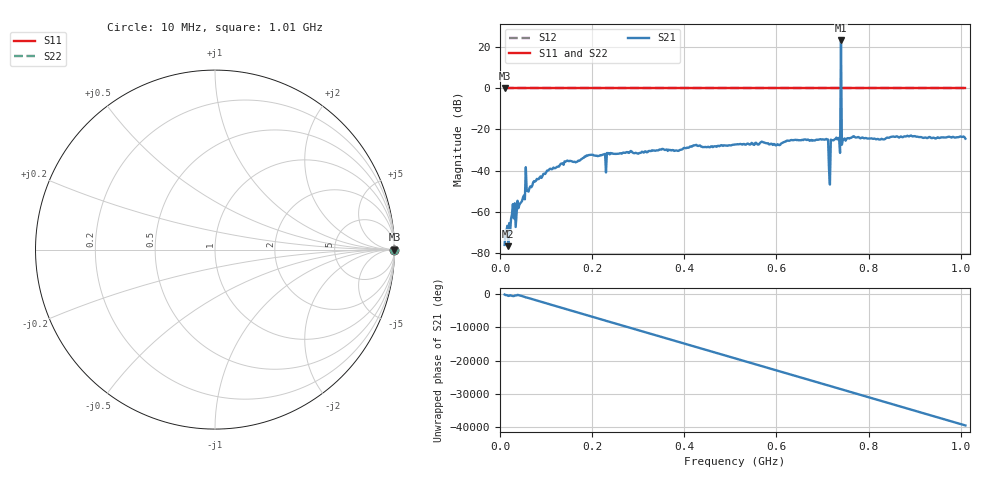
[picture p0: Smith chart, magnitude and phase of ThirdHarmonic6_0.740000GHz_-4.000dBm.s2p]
! 8/16/2025 12:45:24 AM
! C:\ANRITSUVNA\TEMP\TEMP.S2P
! CHANNEL.1
! TR.MEASUREMENT
! RAW.DATA
! RF.CORRECTION.OFF
! AVERAGING.OFF
! IF.BANDWIDTH: 5KHZ
! SWEEPTYPE:  FREQ.SWEEP(Linear)
! Reference Plane Port Info
! PORT:  PORT1  PORT2
! DISTANCE:  0  m  0  m
! TIME:  0  s  0  s
! PHASE.OFFSET:  0  deg.  0  deg.
! LOSS:  0  dB  0  dB
! REF.LOSS:  0  dB  0  dB
! REF.FREQ:  0  Hz  0  Hz
! Power Info
! POWER:  -20  dBm  -20  dBm
! EFF.POWER:  -20  dBm  -20  dBm
! SOURCE.ATTEN:  0  dB  0  dB
! TEST.ATTEN:  0  dB  0  dB
# GHZ S RI R 50.0
! FREQ.GHZ  S11RE  S11IM  S21RE  S21IM  S12RE  S12IM  S22RE  S22IM
!; PortSelection: Port_12
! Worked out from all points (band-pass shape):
!   501 points, 10 MHz to 1.01 GHz, reference 50 ohm
!   highest |S21| = 23.01 dB at 740 MHz (marker M1); lowest = -76.6 dB at 18 MHz (marker M2)
!   |S21| within 3 dB of the highest: 739.8899 MHz to 740.1189 MHz (229 kHz wide, 0.0309 % of centre)
!   lowest |S11| = 0.0 dB at 10 MHz (marker M3)
!   |S11| at or under -10 dB: nowhere
!   |S22| runs from 0.0 to 0.0 dB; largest |S21 - S12| = 14
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0.01  1 0  -0.000156 -2.25e-05  1 0  1 0
0.018  1 0  -7.54e-05 0.000126  1 0  1 0
0.028  1 0  -0.000416 0.00148  1 0  1 0
0.038  1 0  -7.61e-05 0.00185  1 0  1 0
0.06  1 0  0.00152 -0.00279  1 0  1 0
0.064  1 0  -0.00262 0.00274  1 0  1 0
0.106  1 0  -0.00758 -0.00702  1 0  1 0
0.178  1 0  -0.0188 -0.00419  1 0  1 0
0.344  1 0  0.0303 -0.00648  1 0  1 0
0.51  1 0  -0.0398 0.0153  1 0  1 0
0.678  1 0  -0.0241 -0.0469  1 0  1 0
0.708  1 0  -0.0238 0.0531  1 0  1 0
0.712  1 0  0.0375 -0.0421  1 0  1 0
0.718  1 0  0.0174 0.0532  1 0  1 0
0.722  1 0  0.00201 -0.054  1 0  1 0
0.734  1 0  -0.0539 0.0296  1 0  1 0
0.736  1 0  0.0224 0.057  1 0  1 0
0.74  1 0  -0.8047 -14.12  1 0  1 0
0.744  1 0  -0.0144 0.0559  1 0  1 0
0.746  1 0  0.0524 0.024  1 0  1 0
0.844  1 0  0.0448 0.0431  1 0  1 0
1.01  1 0  -0.0577 -0.0132  1 0  1 0
